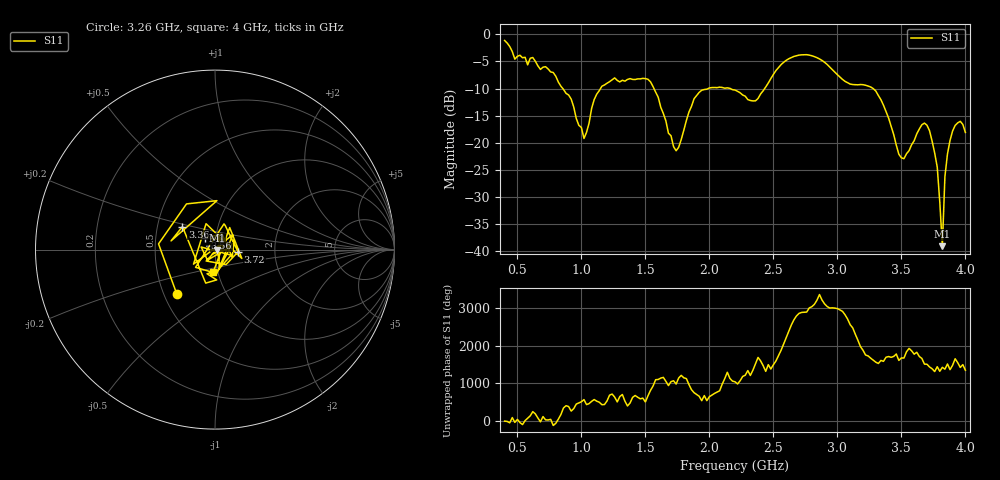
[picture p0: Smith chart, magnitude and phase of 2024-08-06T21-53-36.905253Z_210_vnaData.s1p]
!Created with skrf (http://scikit-rf.org).
# Hz S RI R 50.0
!freq ReS11 ImS11
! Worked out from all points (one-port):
!   181 points, 400 MHz to 4 GHz, reference 50 ohm
!   lowest |S11| = -39.1 dB at 3.82 GHz (marker M1), VSWR 1.02, Z = 51.1 - j0.297 ohm
!   |S11| at or under -10 dB: 854.8 MHz to 1.149 GHz (294.3 MHz wide, 29.4 % of centre); 1.567 GHz to 1.99 GHz (423.3 MHz wide, 23.8 % of centre); 3.28 GHz to end of sweep (the widest 3 of 4)
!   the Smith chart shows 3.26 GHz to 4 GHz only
!   S11 on the Smith chart (normalised r, x): 3.26 GHz: 0.58, -0.32; 3.36 GHz: 0.67, +0.18; 3.56 GHz: 0.89, +0.11; 3.72 GHz: 1.29, -0.03; 4 GHz: 0.95, -0.24
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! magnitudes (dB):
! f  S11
! 400 MHz  -1.1
! 480 MHz  -4.6
! 620 MHz  -4.3
! 860 MHz  -10.1
! 1.02 GHz  -19.2
! 1.12 GHz  -11.0
! 1.3 GHz  -8.8
! 1.54 GHz  -8.8
! 1.72 GHz  -20.7
! 1.76 GHz  -20.8
! 1.92 GHz  -10.7
! 2.2 GHz  -10.3
! 2.36 GHz  -12.3
! 2.66 GHz  -4.1
! 2.84 GHz  -4.3
! 3.1 GHz  -9.2
! 3.26 GHz  -9.7
! 3.36 GHz  -13.1
! 3.48 GHz  -22.1
! 3.56 GHz  -21.5
! 3.66 GHz  -16.7
! 3.72 GHz  -17.8
! 3.78 GHz  -24.5
! 3.82 GHz  -39.1
! 3.84 GHz  -26.2
! 3.88 GHz  -19.6
! 3.96 GHz  -16.0
! 4 GHz  -18.1
